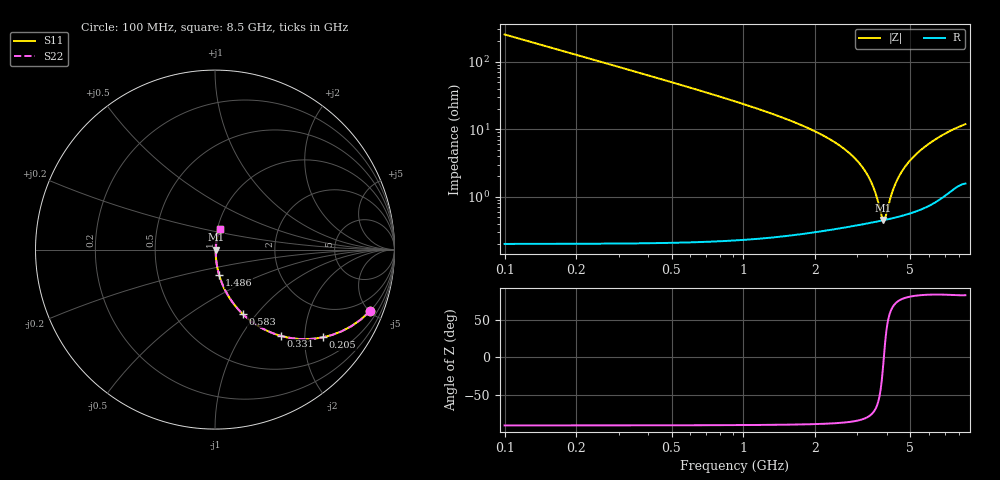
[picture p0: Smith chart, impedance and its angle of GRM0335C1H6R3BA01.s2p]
!Murata Part Number: GRM0335C1H6R3BA01
!These Parameters are Measured in Series Mode Connection
!Data Generated on Mar 30, 2021
!  o--ll--o
!Port1  Port2
!  o------o
!Operation Temp=25[degC], DC Bias Voltage=0[V]
!Freq. Start=100[MHz] Stop=9[GHz] 401[Steps]
# Hz S RI R 50
!Freq.(Hz) S11(Real) S11(Imag) S21(Real) S21(Imag) S12(Real) S12(Imag) S22(Real) S22(Imag)
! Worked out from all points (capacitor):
!   401 points, 100 MHz to 8.5 GHz, reference 50 ohm
!   read as one part in series: C = 6.3 pF near 142 MHz
!   lowest |Z| = 451 mohm at 3.859 GHz (marker M1)
!   series resonance near 3.871 GHz, so ESL is about 270 pH
!   S11 on the Smith chart (normalised r, x): 100 MHz: 1.00, -5.05; 205 MHz: 1.00, -2.46; 331 MHz: 1.00, -1.52; 583 MHz: 1.00, -0.85; 1.486 GHz: 1.01, -0.29; 8.5 GHz: 1.03, +0.24
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1e8  0.8642 -0.3422  0.1358 0.3422  0.1358 0.3422  0.8642 -0.3422
2.05e8  0.6014 -0.4888  0.3986 0.4888  0.3986 0.4888  0.6014 -0.4888
3.31e8  0.365 -0.4801  0.635 0.4801  0.635 0.4801  0.365 -0.4801
4.36e8  0.2473 -0.4296  0.7527 0.4296  0.7527 0.4296  0.2473 -0.4296
5.83e8  0.1532 -0.3577  0.8468 0.3577  0.8468 0.3577  0.1532 -0.3577
9.19e8  0.0648 -0.2419  0.9352 0.2419  0.9352 0.2419  0.0648 -0.2419
1.486e9  0.023 -0.1411  0.977 0.1411  0.977 0.1411  0.023 -0.1411
1.507e9  0.0222 -0.1385  0.9778 0.1385  0.9778 0.1385  0.0222 -0.1385
2.914e9  0.00509 -0.0373  0.9949 0.0373  0.9949 0.0373  0.00509 -0.0373
3.187e9  0.00456 -0.0254  0.9954 0.0254  0.9954 0.0254  0.00456 -0.0254
3.418e9  0.00437 -0.0162  0.9956 0.0162  0.9956 0.0162  0.00437 -0.0162
3.586e9  0.00434 -0.00996  0.9957 0.00996  0.9957 0.00996  0.00434 -0.00996
3.796e9  0.00443 -0.00256  0.9956 0.00256  0.9956 0.00256  0.00443 -0.00256
3.859e9  0.00447 -0.00042  0.9955 0.00042  0.9955 0.00042  0.00447 -0.00042
3.922e9  0.00453 0.00169  0.9955 -0.00169  0.9955 -0.00169  0.00453 0.00169
4.132e9  0.00479 0.0085  0.9952 -0.0085  0.9952 -0.0085  0.00479 0.0085
4.3e9  0.00507 0.0137  0.9949 -0.0137  0.9949 -0.0137  0.00507 0.0137
4.531e9  0.00554 0.0206  0.9945 -0.0206  0.9945 -0.0206  0.00554 0.0206
4.846e9  0.00634 0.0297  0.9937 -0.0297  0.9937 -0.0297  0.00634 0.0297
5.707e9  0.00951 0.0525  0.9905 -0.0525  0.9905 -0.0525  0.00951 0.0525
7.114e9  0.0182 0.0858  0.9818 -0.0858  0.9818 -0.0858  0.0182 0.0858
8.5e9  0.0285 0.1127  0.9715 -0.1127  0.9715 -0.1127  0.0285 0.1127
